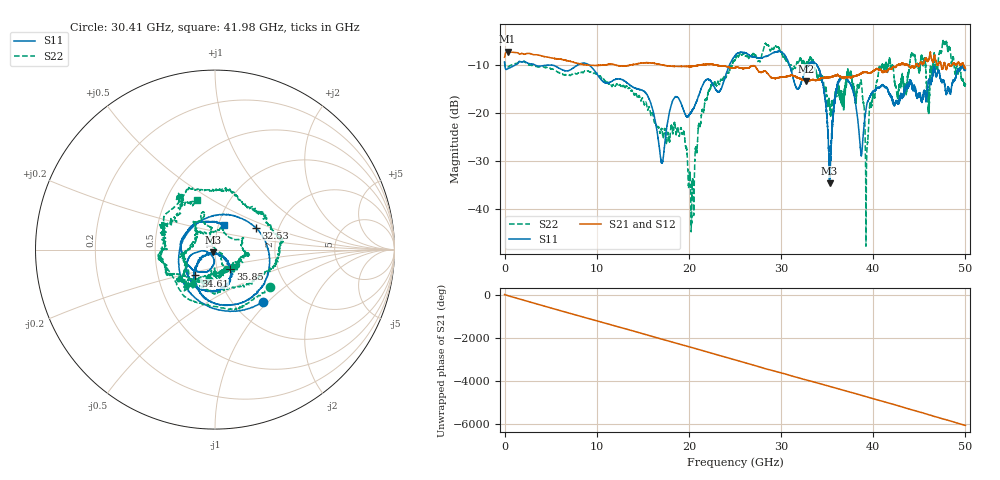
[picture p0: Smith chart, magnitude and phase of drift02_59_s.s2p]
!Created with skrf (http://scikit-rf.org).
# Hz S RI R 50.0
!freq ReS11 ImS11 ReS21 ImS21 ReS12 ImS12 ReS22 ImS22
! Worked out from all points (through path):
!   10001 points, 300 kHz to 50 GHz, reference 50 ohm
!   highest |S21| = -7.31 dB at 325.3 MHz (marker M1); lowest = -13.5 dB at 32.73 GHz (marker M2)
!   group delay of S21, straight-line fit = 335 ps
!   lowest |S11| = -34.7 dB at 35.26 GHz (marker M3), VSWR 1.04, Z = 49 - j1.55 ohm
!   |S11| at or under -10 dB: 3.225 GHz to 8.005 GHz (4.78 GHz wide, 85.1 % of centre); 9.108 GHz to 24.42 GHz (15.31 GHz wide, 91.3 % of centre); 33.85 GHz to end of sweep (the widest 3 of 9)
!   |S22| runs from -47.8 to -5.0 dB; largest |S21 - S12| = 0.014
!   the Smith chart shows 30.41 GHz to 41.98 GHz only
!   S11 on the Smith chart (normalised r, x): 30.41 GHz: 1.36, -0.94; 32.53 GHz: 1.52, +0.40; 34.61 GHz: 0.77, -0.23; 35.85 GHz: 1.15, -0.26; 41.98 GHz: 1.06, +0.30
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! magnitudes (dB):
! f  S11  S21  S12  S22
! 300 kHz  -9.4  -8.4  -8.4  -9.4
! 325.3 MHz  -10.9  -7.3  -7.3  -10.5
! 8.335 GHz  -9.7  -9.9  -9.9  -11.6
! 16.67 GHz  -25.6  -9.9  -9.9  -22.9
! 19.3 GHz  -18.8  -10.4  -10.3  -24.4
! 20.37 GHz  -19.5  -10.3  -10.3  -34.2
! 21.94 GHz  -13.1  -9.9  -9.9  -17.2
! 25 GHz  -8.1  -10.6  -10.6  -9.0
! 30.41 GHz  -8.0  -12.5  -12.5  -8.6
! 32.53 GHz  -11.8  -13.2  -13.2  -9.7
! 32.73 GHz  -10.9  -13.5  -13.5  -10.2
! 33.34 GHz  -9.5  -13.1  -13.2  -9.0
! 34.61 GHz  -14.8  -12.7  -12.7  -13.8
! 35.26 GHz  -34.7  -12.6  -12.6  -18.2
! 35.85 GHz  -17.1  -12.3  -12.3  -15.7
! 37.44 GHz  -13.7  -12.6  -12.5  -12.5
! 38.56 GHz  -26.2  -12.0  -12.0  -13.9
! 39.32 GHz  -18.2  -11.6  -11.6  -27.8
! 41.67 GHz  -15.8  -10.9  -11.1  -9.6
! 41.98 GHz  -16.6  -10.9  -11.0  -10.7
! 47.76 GHz  -14.4  -9.7  -9.7  -5.6
! 50 GHz  -11.1  -10.8  -10.8  -14.2
